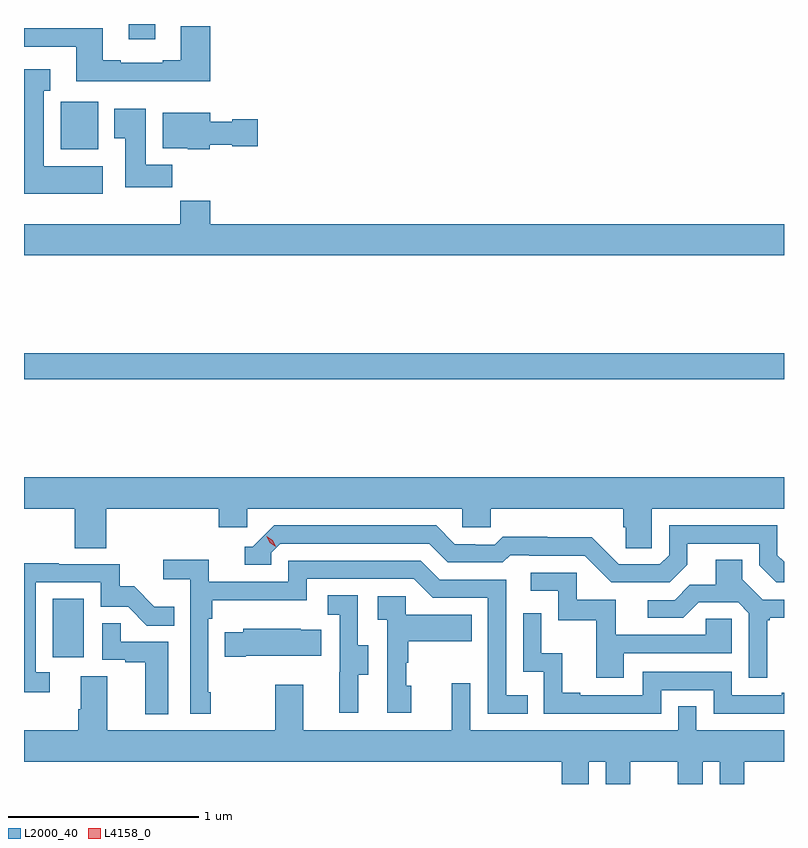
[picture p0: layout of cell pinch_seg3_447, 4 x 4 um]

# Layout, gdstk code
import gdstk
lib = gdstk.Library(unit=1e-6, precision=1e-09)
def R(c, l, rs):  # rectangles x0, y0, x1, y1
    for r in rs: c.add(gdstk.rectangle(r[:2], r[2:], *l))
def P(c, l, *ps):  # polygons
    for p in ps: c.add(gdstk.Polygon(p, *l))
L2000_40 = (2000, 40)
L4158_0 = (4158, 0)

pinch_seg3_447 = lib.new_cell('pinch_seg3_447')
R(pinch_seg3_447, L2000_40, [(921.23,676.158,921.394,676.465), (921.079,677.62,925.079,677.756), (921.273,678.83,921.469,679.08), (921.629,679.41,921.769,679.49)])
P(pinch_seg3_447, L2000_40, [(922.058,679.477),(921.905,679.477),(921.905,679.3),(921.809,679.3),(921.809,679.287),(921.589,679.287),(921.589,679.3),(921.493,679.3),(921.493,679.468),(921.079,679.468),(921.079,679.371),(921.353,679.371),(921.353,679.19),(922.058,679.19)],
  [(921.493,678.742),(921.184,678.742),(921.184,679.139),(921.217,679.139),(921.217,679.252),(921.079,679.252),(921.079,678.596),(921.493,678.596)],
  [(921.86,678.748),(921.721,678.748),(921.721,679.045),(921.554,679.045),(921.554,678.889),(921.611,678.889),(921.611,678.63),(921.86,678.63)],
  [(922.056,678.854),(922.176,678.854),(922.176,678.847),(922.309,678.847),(922.309,678.989),(922.176,678.989),(922.176,678.976),(922.06,678.976),(922.06,679.024),(921.809,679.024),(921.809,678.836),(921.942,678.836),(921.942,678.83),(922.056,678.83)],
  [(925.079,678.436),(922.058,678.436),(922.058,678.56),(921.901,678.56),(921.901,678.436),(921.079,678.436),(921.079,678.272),(925.079,678.272)],
  [(921.512,676.94),(922.103,676.94),(922.103,676.842),(922.254,676.842),(922.254,676.94),(923.385,676.94),(923.385,676.842),(923.535,676.842),(923.535,676.94),(924.233,676.94),(924.233,676.842),(924.247,676.842),(924.247,676.732),(924.384,676.732),(924.384,676.94),(925.079,676.94),(925.079,677.104),(921.079,677.104),(921.079,676.94),(921.347,676.94),(921.347,676.732),(921.512,676.732)],
  [(924.571,676.645),(924.571,676.755),(924.948,676.755),(924.948,676.641),(925.038,676.551),(925.079,676.551),(925.079,676.66),(925.044,676.695),(925.044,676.851),(924.474,676.851),(924.474,676.695),(924.426,676.647),(924.21,676.647),(924.068,676.789),(923.832,676.789),(923.832,676.792),(923.599,676.792),(923.557,676.749),(923.454,676.749),(923.454,676.752),(923.347,676.752),(923.248,676.851),(922.395,676.851),(922.284,676.74),(922.241,676.74),(922.241,676.644),(922.38,676.644),(922.38,676.707),(922.428,676.755),(923.211,676.755),(923.31,676.656),(923.599,676.656),(923.638,676.695),(923.737,676.695),(923.737,676.692),(924.03,676.692),(924.171,676.551),(924.477,676.551)],
  [(922.063,675.973),(922.05,675.973),(922.05,676.361),(922.07,676.361),(922.07,676.457),(922.566,676.457),(922.566,676.569),(923.13,676.569),(923.229,676.47),(923.52,676.47),(923.52,675.861),(923.729,675.861),(923.729,675.957),(923.616,675.957),(923.616,676.566),(923.266,676.566),(923.167,676.665),(922.47,676.665),(922.47,676.554),(922.052,676.554),(922.052,676.67),(921.813,676.67),(921.813,676.568),(921.954,676.568),(921.954,675.861),(922.063,675.861)],
  [(924.991,676.353),(925.003,676.353),(925.003,676.364),(925.079,676.364),(925.079,676.461),(924.966,676.461),(924.859,676.568),(924.859,676.67),(924.719,676.67),(924.719,676.538),(924.584,676.538),(924.504,676.458),(924.363,676.458),(924.363,676.365),(924.55,676.365),(924.631,676.446),(924.837,676.446),(924.894,676.389),(924.894,676.05),(924.991,676.05)],
  [(921.214,676.077),(921.141,676.077),(921.141,676.551),(921.483,676.551),(921.483,676.422),(921.628,676.422),(921.726,676.324),(921.869,676.324),(921.869,676.423),(921.765,676.423),(921.658,676.53),(921.582,676.53),(921.582,676.647),(921.263,676.647),(921.263,676.652),(921.079,676.652),(921.079,675.972),(921.214,675.972)],
  [(924.235,676.179),(924.804,676.179),(924.804,676.359),(924.667,676.359),(924.667,676.275),(924.193,676.275),(924.193,676.461),(923.988,676.461),(923.988,676.602),(923.745,676.602),(923.745,676.506),(923.892,676.506),(923.892,676.353),(924.091,676.353),(924.091,676.05),(924.235,676.05)],
  [(922.837,676.066),(922.891,676.066),(922.891,676.221),(922.836,676.221),(922.836,676.484),(922.677,676.484),(922.677,676.381),(922.74,676.381),(922.74,676.077),(922.739,676.077),(922.739,675.864),(922.837,675.864)],
  [(923.116,676.008),(923.091,676.008),(923.091,676.127),(923.101,676.127),(923.101,676.241),(923.435,676.241),(923.435,676.381),(923.088,676.381),(923.088,676.479),(922.941,676.479),(922.941,676.355),(922.992,676.355),(922.992,675.864),(923.116,675.864)],
  [(924.432,675.984),(924.708,675.984),(924.708,675.861),(925.079,675.861),(925.079,675.97),(925.067,675.97),(925.067,675.957),(924.804,675.957),(924.804,676.08),(924.336,676.08),(924.336,675.957),(924.007,675.957),(924.007,675.97),(923.912,675.97),(923.912,676.178),(923.802,676.178),(923.802,676.39),(923.706,676.39),(923.706,676.08),(923.814,676.08),(923.814,675.861),(924.432,675.861)],
  [(921.838,676.239),(921.587,676.239),(921.587,676.337),(921.492,676.337),(921.492,676.143),(921.613,676.143),(921.613,676.131),(921.716,676.131),(921.716,675.857),(921.838,675.857)],
  [(922.246,676.166),(922.643,676.166),(922.643,676.303),(922.535,676.303),(922.535,676.306),(922.233,676.306),(922.233,676.288),(922.135,676.288),(922.135,676.159),(922.246,676.159)],
  [(924.052,675.608),(924.14,675.608),(924.14,675.49),(924.271,675.49),(924.271,675.608),(924.521,675.608),(924.521,675.49),(924.652,675.49),(924.652,675.608),(924.74,675.608),(924.74,675.49),(924.871,675.49),(924.871,675.608),(925.079,675.608),(925.079,675.772),(924.618,675.772),(924.618,675.899),(924.522,675.899),(924.522,675.772),(923.427,675.772),(923.427,676.021),(923.33,676.021),(923.33,675.772),(922.549,675.772),(922.549,676.012),(922.402,676.012),(922.402,675.772),(921.517,675.772),(921.517,676.058),(921.377,676.058),(921.377,675.884),(921.365,675.884),(921.365,675.772),(921.079,675.772),(921.079,675.608),(923.909,675.608),(923.909,675.49),(924.052,675.49)])
P(pinch_seg3_447, L4158_0, [(922.403,676.74),(922.372,676.76),(922.357,676.792),(922.357,676.793),(922.357,676.793),(922.387,676.773),(922.403,676.74),(922.403,676.74)])

lib.write_gds('pinch_seg3_447.gds')
